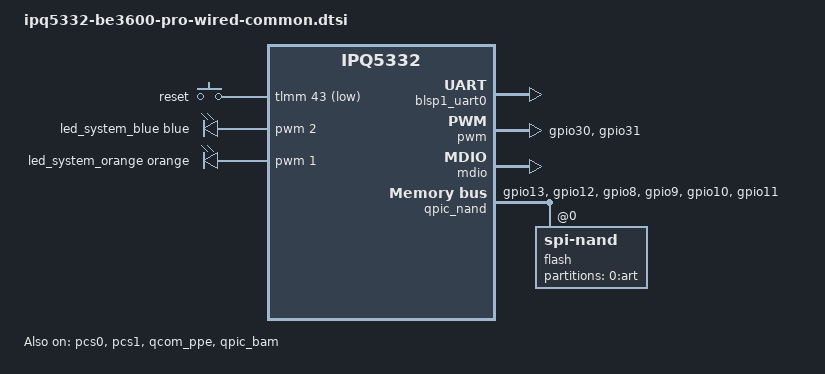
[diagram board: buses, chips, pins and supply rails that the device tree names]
// SPDX-License-Identifier: (GPL-2.0+ OR BSD-3-Clause)

#include "ipq5332.dtsi"

#include <dt-bindings/gpio/gpio.h>
#include <dt-bindings/input/input.h>
#include <dt-bindings/leds/common.h>

/ {
	aliases {
		serial0 = &blsp1_uart0;
		led-boot = &led_system_blue;
		led-failsafe = &led_system_orange;
		led-running = &led_system_blue;
		led-upgrade = &led_system_orange;
	};

	chosen {
		bootargs-append = " root=/dev/ubiblock0_1";
		stdout-path = "serial0:115200n8";
	};

	keys {
		compatible = "gpio-keys";
		pinctrl-0 = <&button_pins>;
		pinctrl-names = "default";

		button-reset {
			label = "reset";
			gpios = <&tlmm 43 GPIO_ACTIVE_LOW>;
			linux,code = <KEY_RESTART>;
			debounce-interval = <60>;
		};
	};

	leds {
		compatible = "pwm-leds";

		led_system_blue: system-blue {
			color = <LED_COLOR_ID_BLUE>;
			function = LED_FUNCTION_STATUS;
			pwms = <&pwm 2 50000 0>;
			max-brightness = <255>;
			linux,default-trigger = "default-on";
		};

		led_system_orange: system-orange {
			color = <LED_COLOR_ID_ORANGE>;
			function = LED_FUNCTION_STATUS;
			pwms = <&pwm 1 50000 0>;
			max-brightness = <255>;
		};
	};
};

&blsp1_uart0 {
	status = "okay";

	pinctrl-0 = <&serial_0_pins>;
	pinctrl-names = "default";
};

&sleep_clk {
	clock-frequency = <32000>;
};

&ref_48mhz_clk {
	clock-div = <1>;
	clock-mult = <1>;
};

&xo_clk {
	clock-frequency = <48000000>;
};

&xo_board {
	clock-div = <2>;
	clock-mult = <1>;
};

&pwm {
	status = "okay";

	pinctrl-names = "default";
	pinctrl-0 = <&pwm_pins>;
};

&tlmm {
	qpic_snand_default_state: qpic-snand-default-state {
		clock-pins {
			pins = "gpio13";
			function = "qspi_clk";
			drive-strength = <8>;
			bias-disable;
		};

		cs-pins {
			pins = "gpio12";
			function = "qspi_cs";
			drive-strength = <8>;
			bias-disable;
		};

		data-pins {
			pins = "gpio8", "gpio9", "gpio10", "gpio11";
			function = "qspi_data";
			drive-strength = <8>;
			bias-pull-down;
		};
	};

	button_pins: button-pins {
		pins = "gpio43";
		function = "gpio";
		drive-strength = <8>;
		bias-pull-up;
	};

	pwm_pins: pwm-pins {
		pins = "gpio30", "gpio31";
		function = "pwm1";
		drive-strength = <8>;
	};
};

&mdio {
	status = "okay";
};

&pcs0 {
	status = "okay";
};

&pcs1 {
	status = "okay";
};

&qcom_ppe {
	status = "okay";

	ethernet-ports {
		#address-cells = <1>;
		#size-cells = <0>;

		port@1 {
			reg = <1>;
			phy-mode = "usxgmii";
			pcs-handle = <&pcs0_ch0>;
			nvmem-cells = <&base_macaddr 1>;
			nvmem-cell-names = "mac-address";
			clocks = <&nsscc NSS_CC_PORT1_MAC_CLK>,
				 <&nsscc NSS_CC_PORT1_RX_CLK>,
				 <&nsscc NSS_CC_PORT1_TX_CLK>;
			clock-names = "mac", "rx", "tx";
			resets = <&nsscc NSS_CC_PORT1_MAC_CLK_ARES>,
				 <&nsscc NSS_CC_PORT1_RX_CLK_ARES>,
				 <&nsscc NSS_CC_PORT1_TX_CLK_ARES>;
			reset-names = "mac", "rx", "tx";
		};

		port@2 {
			reg = <2>;
			phy-mode = "usxgmii";
			pcs-handle = <&pcs1_ch0>;
			nvmem-cells = <&base_macaddr 0>;
			nvmem-cell-names = "mac-address";
			clocks = <&nsscc NSS_CC_PORT2_MAC_CLK>,
				 <&nsscc NSS_CC_PORT2_RX_CLK>,
				 <&nsscc NSS_CC_PORT2_TX_CLK>;
			clock-names = "mac", "rx", "tx";
			resets = <&nsscc NSS_CC_PORT2_MAC_CLK_ARES>,
				 <&nsscc NSS_CC_PORT2_RX_CLK_ARES>,
				 <&nsscc NSS_CC_PORT2_TX_CLK_ARES>;
			reset-names = "mac", "rx", "tx";
		};
	};
};

&qpic_bam {
	status = "okay";
};

&qpic_nand {
	status = "okay";

	pinctrl-0 = <&qpic_snand_default_state>;
	pinctrl-names = "default";

	flash@0 {
		compatible = "spi-nand";
		reg = <0>;
		#address-cells = <1>;
		#size-cells = <1>;
		nand-ecc-strength = <8>;
		nand-ecc-step-size = <512>;
		nand-bus-width = <8>;
		nand-ecc-engine = <&qpic_nand>;

		partitions {
			compatible = "qcom,smem-part";

			partition-0-art {
				label = "0:art";
				read-only;

				nvmem-layout {
					compatible = "fixed-layout";
					#address-cells = <1>;
					#size-cells = <1>;

					base_macaddr: macaddr@0 {
						compatible = "mac-base";
						reg = <0x0 0x6>;
						#nvmem-cell-cells = <1>;
					};
				};
			};
		};
	};
};

&q6_region {
	reg = <0x0 0x4a900000 0x0 0x800000>;
};
